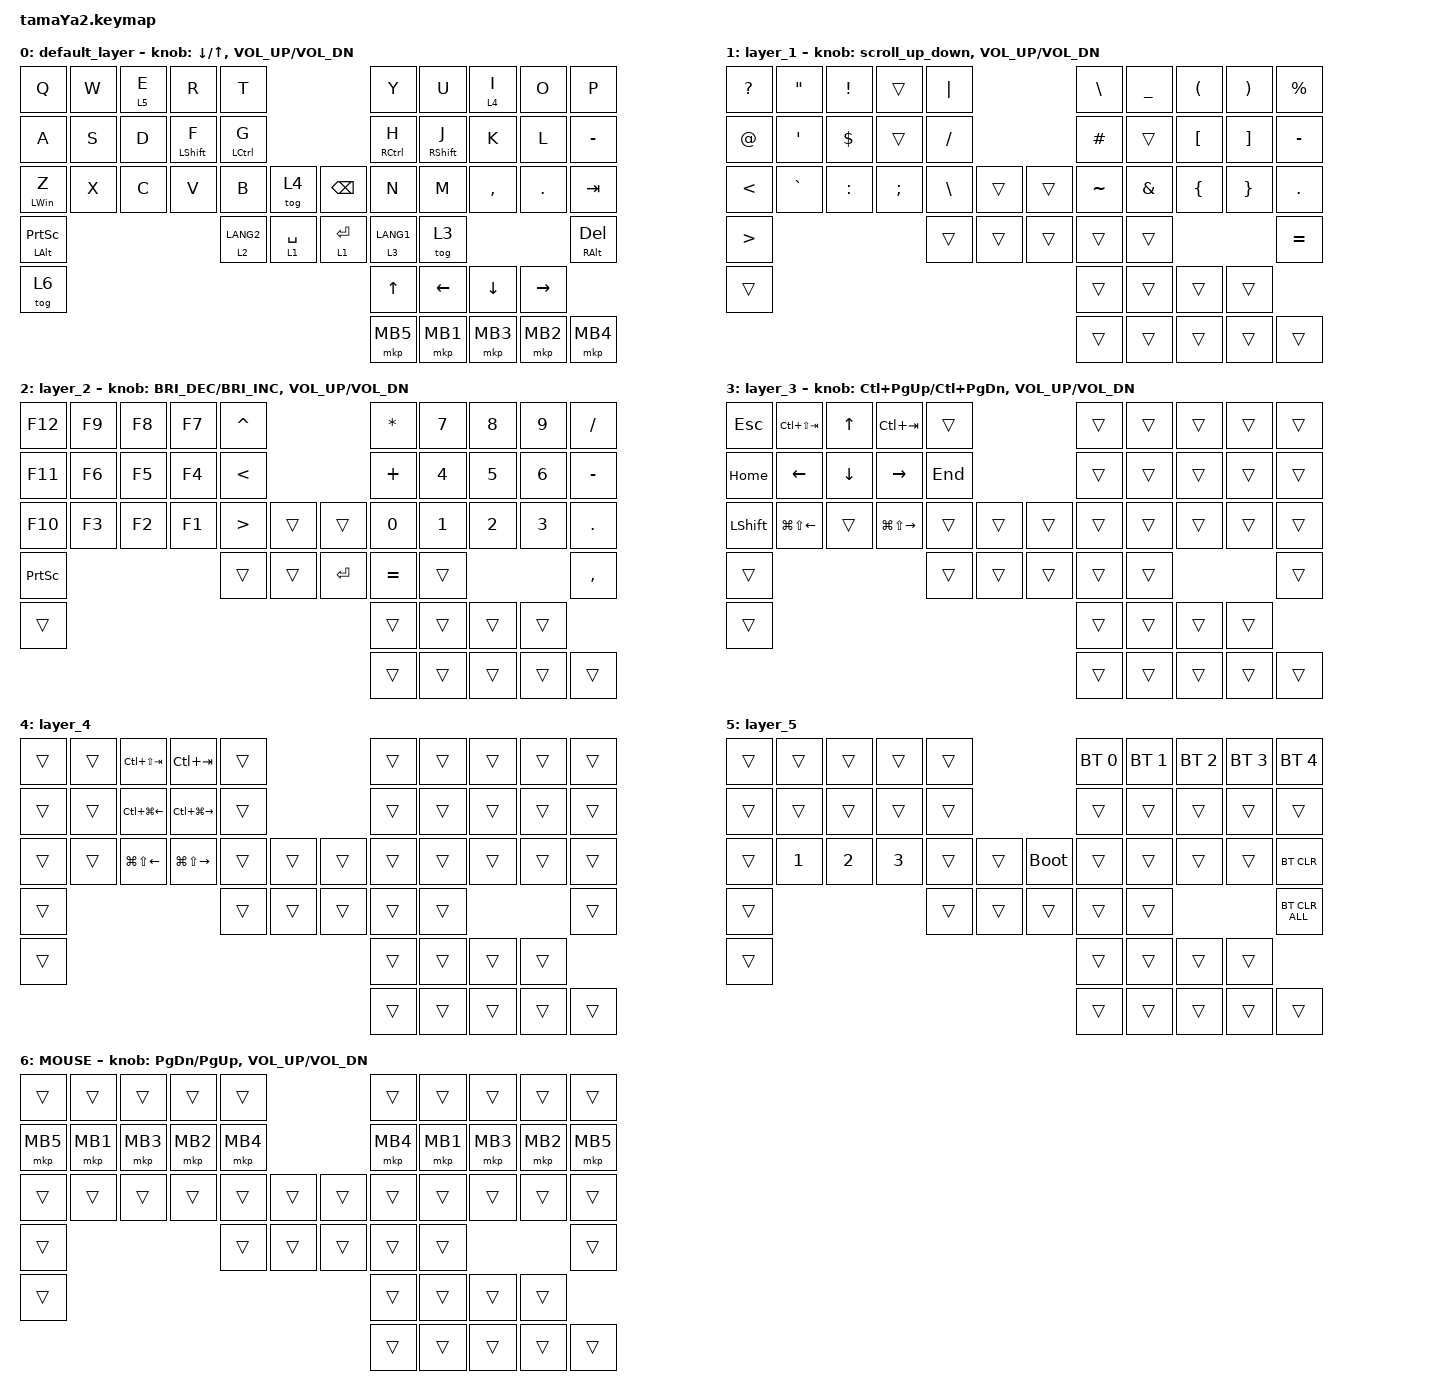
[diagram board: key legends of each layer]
#include <behaviors.dtsi>
#include <dt-bindings/zmk/bt.h>
#include <dt-bindings/zmk/keys.h>
#include <dt-bindings/zmk/mouse.h>
#include <behaviors/rgbled_widget.dtsi>  // led制御

#define ZMK_MOUSE_DEFAULT_SCRL_VAL 100   //スクロール量

#define MOUSE 6

&mt {
    flavor = "balanced";
    quick-tap-ms = <0>;
};

/ {
    // 複数キーの同時押しに特別の入力を設定できる
    // キー番号早見表：
    //  0  1  2  3  4         5  6  7  8  9
    // 10 11 12 13 14        15 16 17 18 19
    // 20 21 22 23 24 25  26 27 28 29 30 31
    

    combos {
        compatible = "zmk,combos";
        timeout-ms = <100>;
        require-prior-idle-ms = <150>;

        combo_esc {
            key-positions = <1 2>;
            bindings = <&kp  ESC>;
        };

        combo_caps {
            key-positions = <11 12>;
            bindings = <&kp CAPS>;
        };

        combo_tog3 {
            key-positions = <3 4>;
            bindings = <&tog 3>;
        };

        combo_slck {
            key-positions = <7 8>;
            bindings = <&kp SLCK>;
        };

    };

    //マクロ(既存のキーの組み合わせ)
    macros {
        to_layer_0: to_layer_0 {
            compatible = "zmk,behavior-macro-one-param";
            #binding-cells = <1>;
            bindings = <&to 0 &macro_param_1to1 &kp MACRO_PLACEHOLDER>;
            label = "TO_LAYER_0";
        };
    };

    //新たな動作を定義する
    behaviors {
        lt_to_layer_0: lt_to_layer_0 {
            compatible = "zmk,behavior-hold-tap";
            label = "LAYER_TAP_TO_0";
            bindings = <&mo>, <&to_layer_0>;

            #binding-cells = <2>;
            tapping-term-ms = <200>;
        };

        rot_kp: sensor_rotate_kp {
            compatible = "zmk,behavior-sensor-rotate-var";
            #sensor-binding-cells = <2>;
            bindings = <&kp>, <&kp>;
        };

        scroll_up_down: behavior_sensor_rotate_mouse_wheel_up_down {
            compatible = "zmk,behavior-sensor-rotate";
            #sensor-binding-cells = <0>;
            bindings = <&msc SCRL_UP>, <&msc SCRL_DOWN>;
            tap-ms = <20>;
        };
    };

    //キーマップ設定
    keymap {
        compatible = "zmk,keymap";

        default_layer { //デフォルトレイヤー(レイヤー0)
            bindings = <
            &kp Q           &kp W  &lt 5 E  &kp R        &kp T                                                       &kp Y        &kp U          &lt 4 I        &kp O           &kp P
            &kp A           &kp S  &kp D    &mt LSHFT F  &mt LCTRL G                                                 &mt RCTRL H  &mt RSHFT J    &kp K          &kp L           &kp MINUS
            &mt LWIN Z      &kp X  &kp C    &kp V        &kp B        &tog 4                   &kp BACKSPACE         &kp N        &kp M          &kp COMMA      &kp PERIOD      &kp TAB
            &mt LALT PSCRN                               &lt 2 LANG2  &lt_to_layer_0 1 SPACE   &lt_to_layer_0 1 RET  &lt 3 LANG1  &tog 3                                        &mt RALT DEL
            &tog 6                                                                                                   &kp UP_ARROW &kp LEFT_ARROW &kp DOWN_ARROW &kp RIGHT_ARROW 
                                                                                                                     &mkp MB5     &mkp MB1       &mkp MB3       &mkp MB2        &mkp MB4
            >;

            sensor-bindings = 
                <&rot_kp DOWN UP>,
                <&inc_dec_kp C_VOL_UP C_VOL_DN>;
        };

        layer_1 {   //レイヤー1の時の設定
            bindings = <
            &kp QMARK  &kp DQT   &kp EXCL  &trans   &kp PIPE                    &kp BSLH  &kp UNDER  &kp LPAR  &kp RPAR  &kp PRCNT
            &kp AT     &kp SQT   &kp DLLR  &trans   &kp FSLH                    &kp HASH  &trans     &kp LBKT  &kp RBKT  &kp MINUS
            &kp LT     &kp GRAVE &kp COLON &kp SEMI &kp BSLH  &trans    &trans  &kp TILDE &kp AMPS   &kp LBRC  &kp RBRC  &kp DOT
            &kp GT                                  &trans    &trans    &trans  &trans    &trans                         &kp EQUAL
            &trans                                                              &trans    &trans     &trans    &trans    
                                                                                &trans    &trans     &trans    &trans    &trans
            >;

            sensor-bindings =
                <&scroll_up_down>,
                <&inc_dec_kp C_VOL_UP C_VOL_DN>;
        };

        layer_2 {   //レイヤー2の時の設定
            bindings = <
            &kp F12  &kp F9  &kp F8  &kp F7  &kp CARET                    &kp ASTRK  &kp N7  &kp N8  &kp N9  &kp SLASH
            &kp F11  &kp F6  &kp F5  &kp F4  &kp LT                       &kp PLUS   &kp N4  &kp N5  &kp N6  &kp MINUS
            &kp F10  &kp F3  &kp F2  &kp F1  &kp GT     &trans    &trans  &kp N0     &kp N1  &kp N2  &kp N3  &kp DOT
            &kp PSCRN                        &trans     &trans    &kp RET &kp EQUAL  &trans                  &kp COMMA
            &trans                                                        &trans     &trans  &trans  &trans  
                                                                          &trans     &trans  &trans  &trans  &trans
            >;

            sensor-bindings =
                <&rot_kp C_BRI_DEC C_BRI_INC>,
                <&inc_dec_kp C_VOL_UP C_VOL_DN>;
        };

        layer_3 {    //レイヤー3の時の設定
            bindings = <
            &kp ESCAPE      &kp LC(LS(TAB))         &kp UP_ARROW    &kp LC(TAB)              &trans                         &trans  &trans  &trans  &trans  &trans
            &kp HOME        &kp LEFT_ARROW          &kp DOWN_ARROW  &kp RIGHT_ARROW          &kp END                        &trans  &trans  &trans  &trans  &trans
            &kp LEFT_SHIFT  &kp LG(LS(LEFT_ARROW))  &trans          &kp LG(LS(RIGHT_ARROW))  &trans   &trans        &trans  &trans  &trans  &trans  &trans  &trans
            &trans                                                                           &trans   &trans        &trans  &trans  &trans                  &trans
           &trans                                                                                                           &trans  &trans  &trans  &trans  
                                                                                                                            &trans  &trans  &trans  &trans  &trans
            >;

            sensor-bindings = 
                <&inc_dec_kp LC(PAGE_UP) LC(PAGE_DOWN)>,
                <&inc_dec_kp C_VOL_UP C_VOL_DN>;
        };

        layer_4 {   //レイヤー4の時の設定(スクロールレイヤー)
            bindings = <
            &trans  &trans  &kp LC(LS(TAB))         &kp LC(TAB)              &trans                     &trans  &trans  &trans  &trans  &trans
            &trans  &trans  &kp LC(LG(LEFT_ARROW))  &kp LC(LG(RIGHT_ARROW))  &trans                     &trans  &trans  &trans  &trans  &trans
            &trans  &trans  &kp LG(LS(LEFT_ARROW))  &kp LG(LS(RIGHT_ARROW))  &trans  &trans     &trans  &trans  &trans  &trans  &trans  &trans
            &trans                                                           &trans  &trans     &trans  &trans  &trans                  &trans
            &trans                                                                                      &trans  &trans  &trans  &trans  
                                                                                                        &trans  &trans  &trans  &trans  &trans
            >;

        };

        layer_5 {   //レイヤー5の時の設定
            bindings = <
            &trans  &trans        &trans        &trans        &trans                         &bt BT_SEL 0  &bt BT_SEL 1  &bt BT_SEL 2  &bt BT_SEL 3  &bt BT_SEL 4
            &trans  &trans        &trans        &trans        &trans                         &trans        &trans        &trans        &trans        &trans
            &trans  &kp NUMBER_1  &kp NUMBER_2  &kp NUMBER_3  &trans  &trans    &bootloader  &trans        &trans        &trans        &trans        &bt BT_CLR
            &trans                                            &trans  &trans    &trans       &trans        &trans                                    &bt BT_CLR_ALL
            &trans                                                                           &trans        &trans        &trans        &trans        
                                                                                             &trans        &trans        &trans        &trans        &trans
            >;
            
        };

        MOUSE {     //レイヤー6の時の設定(マウスレイヤー)
            bindings = <
            &trans    &trans    &trans    &trans    &trans                      &trans    &trans    &trans    &trans    &trans
            &mkp MB5  &mkp MB1  &mkp MB3  &mkp MB2  &mkp MB4                    &mkp MB4  &mkp MB1  &mkp MB3  &mkp MB2  &mkp MB5
            &trans    &trans    &trans    &trans    &trans    &trans    &trans  &trans    &trans    &trans    &trans    &trans
            &trans                                  &trans    &trans    &trans  &trans    &trans                        &trans
            &trans                                                              &trans    &trans    &trans    &trans    
                                                                                &trans    &trans    &trans    &trans    &trans
            >;

           sensor-bindings =
                <&rot_kp PG_DN PG_UP>,
                <&inc_dec_kp C_VOL_UP C_VOL_DN>;
            
        };
    };
};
